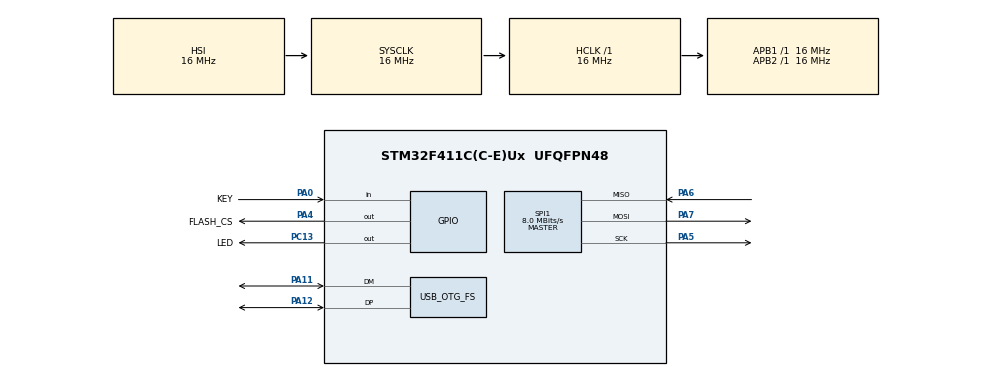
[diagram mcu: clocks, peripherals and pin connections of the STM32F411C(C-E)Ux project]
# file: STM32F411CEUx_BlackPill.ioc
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Mcu.Family=STM32F4
Mcu.Name=STM32F411C(C-E)Ux
Mcu.Package=UFQFPN48
NVIC.OTG_FS_IRQn=true\:0\:0\:false\:false\:true\:false\:true\:true
NVIC.PriorityGroup=NVIC_PRIORITYGROUP_4
PA0-WKUP.GPIO_Label=KEY
PA0-WKUP.Signal=GPIO_Input
PA11.Mode=Device_Only
PA11.Signal=USB_OTG_FS_DM
PA12.Mode=Device_Only
PA12.Signal=USB_OTG_FS_DP
PA13.Mode=Serial_Wire
PA13.Signal=SYS_JTMS-SWDIO
PA14.Mode=Serial_Wire
PA14.Signal=SYS_JTCK-SWCLK
PA4.GPIO_Label=FLASH_CS
PA4.GPIO_Speed=GPIO_SPEED_FREQ_VERY_HIGH
PA4.PinState=GPIO_PIN_SET
PA4.Signal=GPIO_Output
PA5.Mode=Full_Duplex_Master
PA5.Signal=SPI1_SCK
PA6.Mode=Full_Duplex_Master
PA6.Signal=SPI1_MISO
PA7.Mode=Full_Duplex_Master
PA7.Signal=SPI1_MOSI
PC13-ANTI_TAMP.GPIO_Label=LED
PC13-ANTI_TAMP.Signal=GPIO_Output
PC14-OSC32_IN.Mode=LSE-External-Oscillator
PC14-OSC32_IN.Signal=RCC_OSC32_IN
PC15-OSC32_OUT.Mode=LSE-External-Oscillator
PC15-OSC32_OUT.Signal=RCC_OSC32_OUT
PH0\ -\ OSC_IN.Mode=HSE-External-Oscillator
PH0\ -\ OSC_IN.Signal=RCC_OSC_IN
PH1\ -\ OSC_OUT.Mode=HSE-External-Oscillator
PH1\ -\ OSC_OUT.Signal=RCC_OSC_OUT
ProjectManager.HeapSize=0x200
ProjectManager.StackSize=0x400
ProjectManager.TargetToolchain=STM32CubeIDE
RCC.48MHZClocksFreq_Value=48000000
RCC.AHBFreq_Value=16000000
RCC.APB1Freq_Value=16000000
RCC.APB2Freq_Value=16000000
RCC.CortexFreq_Value=16000000
RCC.HSE_VALUE=25000000
RCC.HSI_VALUE=16000000
RCC.PLLM=15
RCC.PLLN=144
RCC.PLLQ=5
RCC.SYSCLKFreq_VALUE=16000000
RCC.VCOOutputFreq_Value=240000000
SPI1.CalculateBaudRate=8.0 MBits/s
SPI1.Direction=SPI_DIRECTION_2LINES
SPI1.Mode=SPI_MODE_MASTER
SPI1.VirtualType=VM_MASTER
USB_DEVICE.CLASS_NAME_FS=CDC
USB_DEVICE.PRODUCT_STRING_CDC_FS=STM32 VCP
USB_DEVICE.VirtualMode=Cdc
USB_DEVICE.VirtualModeFS=Cdc_FS
USB_OTG_FS.VirtualMode=Device_Only
VP_USB_DEVICE_VS_USB_DEVICE_CDC_FS.Mode=CDC_FS
board=custom

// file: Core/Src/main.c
/* USER CODE BEGIN Header */
/**
  ******************************************************************************
  * @file           : main.c
  * @brief          : Main program body
  ******************************************************************************
  * @attention
  *
  * Copyright (c) 2024 STMicroelectronics.
  * All rights reserved.
  *
  * This software is licensed under terms that can be found in the LICENSE file
  * in the root directory of this software component.
  * If no LICENSE file comes with this software, it is provided AS-IS.
  *
  ******************************************************************************
  */
/* USER CODE END Header */
#include "main.h"
#include "spi.h"
#include "usb_device.h"
#include "gpio.h"

/* USER CODE BEGIN Includes */
#include <stdio.h>
#include "usbd_cdc_if.h"
#include <string.h>
#include "W25Qxxx.h"

/* USER CODE END Includes */

/* USER CODE BEGIN PM */
int _write(int file, char *ptr, int len)  // pentru printf
{
	CDC_Transmit_FS((uint8_t*) ptr, len);
	return len;
}

/* USER CODE END PM */

void SystemClock_Config(void);

int main(void)
{

  /* MCU Configuration--------------------------------------------------------*/

  /* Reset of all peripherals, Initializes the Flash interface and the Systick. */
  HAL_Init();

  /* Configure the system clock */
  SystemClock_Config();

  /* Initialize all configured peripherals */
  MX_GPIO_Init();
  MX_SPI1_Init();
  MX_USB_DEVICE_Init();
  /* USER CODE BEGIN 2 */

  if( !Flash_Init())// No Flash mem fiind
  	{
  		while(1)
  		{
  			printf("Flash mem found \r\n");
  			HAL_Delay(1000);

  		}
  	}
  uint8_t mes[20]={0};
  Flash_Read(0, mes, 15);
  printf("Flash : %s \r\n",mes);

  /* USER CODE END 2 */

  /* Infinite loop */
  /* USER CODE BEGIN WHILE */
  while (1)
  {
	  static uint16_t cnt =0 ;
	  HAL_Delay(500);
	  printf("Loop Nr= %d \r\n",cnt++);

	  HAL_GPIO_TogglePin(LED_GPIO_Port, LED_Pin);

	  /* USER CODE END WHILE */

  }
}

void SystemClock_Config(void)
{
  RCC_OscInitTypeDef RCC_OscInitStruct = {0};
  RCC_ClkInitTypeDef RCC_ClkInitStruct = {0};

  /** Configure the main internal regulator output voltage
  */
  __HAL_RCC_PWR_CLK_ENABLE();
  __HAL_PWR_VOLTAGESCALING_CONFIG(PWR_REGULATOR_VOLTAGE_SCALE1);

  /** Initializes the RCC Oscillators according to the specified parameters
  * in the RCC_OscInitTypeDef structure.
  */
  RCC_OscInitStruct.OscillatorType = RCC_OSCILLATORTYPE_HSI|RCC_OSCILLATORTYPE_HSE;
  RCC_OscInitStruct.HSEState = RCC_HSE_ON;
  RCC_OscInitStruct.HSIState = RCC_HSI_ON;
  RCC_OscInitStruct.HSICalibrationValue = RCC_HSICALIBRATION_DEFAULT;
  RCC_OscInitStruct.PLL.PLLState = RCC_PLL_ON;
  RCC_OscInitStruct.PLL.PLLSource = RCC_PLLSOURCE_HSE;
  RCC_OscInitStruct.PLL.PLLM = 15;
  RCC_OscInitStruct.PLL.PLLN = 144;
  RCC_OscInitStruct.PLL.PLLP = RCC_PLLP_DIV2;
  RCC_OscInitStruct.PLL.PLLQ = 5;
  if (HAL_RCC_OscConfig(&RCC_OscInitStruct) != HAL_OK)
  {
    Error_Handler();
  }

  /** Initializes the CPU, AHB and APB buses clocks
  */
  RCC_ClkInitStruct.ClockType = RCC_CLOCKTYPE_HCLK|RCC_CLOCKTYPE_SYSCLK
                              |RCC_CLOCKTYPE_PCLK1|RCC_CLOCKTYPE_PCLK2;
  RCC_ClkInitStruct.SYSCLKSource = RCC_SYSCLKSOURCE_HSI;
  RCC_ClkInitStruct.AHBCLKDivider = RCC_SYSCLK_DIV1;
  RCC_ClkInitStruct.APB1CLKDivider = RCC_HCLK_DIV1;
  RCC_ClkInitStruct.APB2CLKDivider = RCC_HCLK_DIV1;

  if (HAL_RCC_ClockConfig(&RCC_ClkInitStruct, FLASH_LATENCY_0) != HAL_OK)
  {
    Error_Handler();
  }
}

void Error_Handler(void)
{
  __disable_irq();
  while (1)
  {
  }
}
